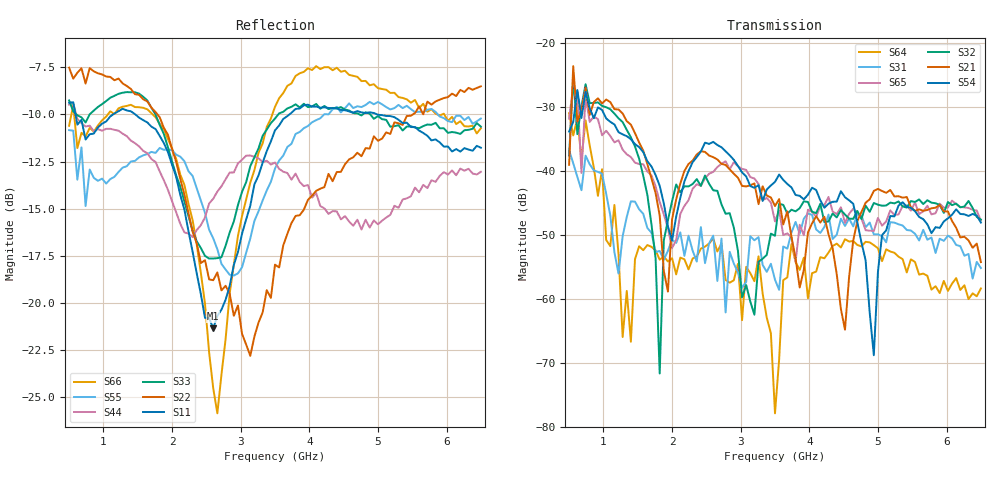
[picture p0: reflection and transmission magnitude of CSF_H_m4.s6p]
!Keysight Technologies,M9804A,MY58100912,A.14.10.03
!Date: Thursday, April 27, 2023 10:28:33
!Correction: S11(C  6-Port  )
!S12(C  6-Port  )
!S13(C  6-Port  )
!S14(C  6-Port  )
!S15(C  6-Port  )
!S16(C  6-Port  )
!S21(C  6-Port  )
!S22(C  6-Port  )
!S23(C  6-Port  )
!S24(C  6-Port  )
!S25(C  6-Port  )
!S26(C  6-Port  )
!S31(C  6-Port  )
!S32(C  6-Port  )
!S33(C  6-Port  )
!S34(C  6-Port  )
!S35(C  6-Port  )
!S36(C  6-Port  )
!S41(C  6-Port  )
!S42(C  6-Port  )
!S43(C  6-Port  )
!S44(C  6-Port  )
!S45(C  6-Port  )
!S46(C  6-Port  )
!S51(C  6-Port  )
!S52(C  6-Port  )
!S53(C  6-Port  )
!S54(C  6-Port  )
!S55(C  6-Port  )
!S56(C  6-Port  )
!S61(C  6-Port  )
!S62(C  6-Port  )
!S63(C  6-Port  )
!S64(C  6-Port  )
!S65(C  6-Port  )
!S66(C  6-Port  )
!S6P File: Measurement: :
# Hz S  RI  R 50
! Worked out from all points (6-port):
!   101 points, 500 MHz to 6.5 GHz, reference 50 ohm
!   strongest paths, dB at 500 MHz, 2 GHz, 3.5 GHz, 5 GHz, 6.5 GHz:
!     S54: -33.8, -50.8, -41.7, -55.7, -48.0
!     S21: -39.0, -47.5, -45.4, -42.8, -54.2
!     S32: -37.5, -44.7, -50.1, -45.2, -47.6
!     S65: -31.8, -52.0, -47.8, -47.3, -47.7
!     S31: -36.7, -50.7, -57.0, -49.9, -55.1
!     S64: -30.9, -53.6, -77.8, -52.0, -58.3
!   lowest |S11| = -21.4 dB at 2.6 GHz (marker M1), VSWR 1.19, Z = 42.4 + j2.29 ohm
!   |S11| at or under -10 dB: 592.7 MHz to 1.141 GHz (548.5 MHz wide, 63.3 % of centre); 1.465 GHz to 3.71 GHz (2.245 GHz wide, 86.8 % of centre); 4.989 GHz to end of sweep
